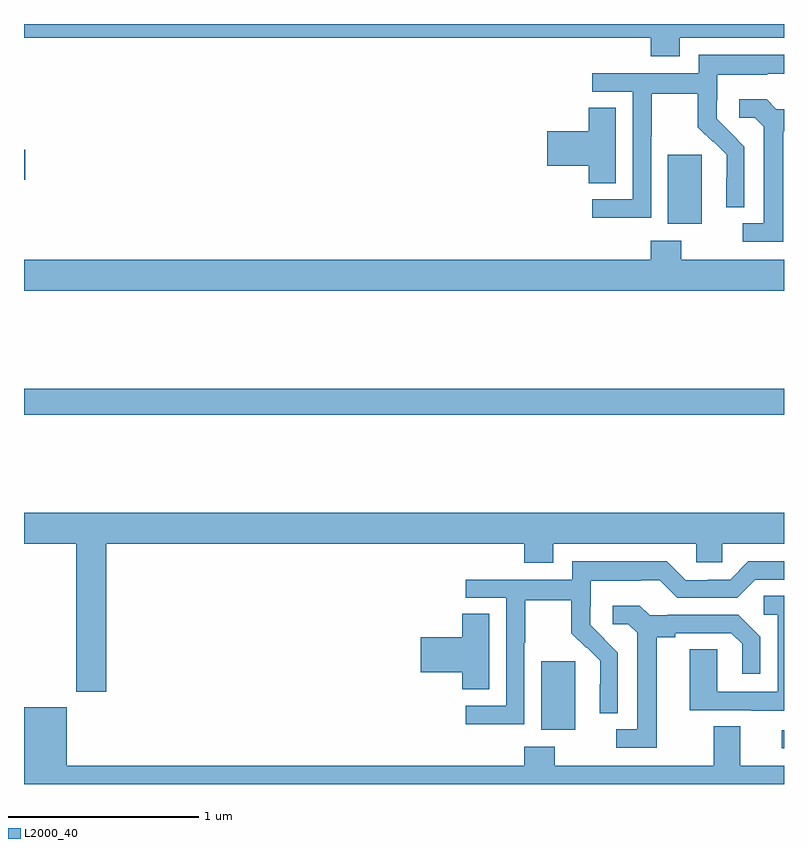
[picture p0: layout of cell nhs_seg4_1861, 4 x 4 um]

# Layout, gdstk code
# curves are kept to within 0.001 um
import gdstk
lib = gdstk.Library(unit=1e-6, precision=1e-09)
def R(c, l, rs):  # rectangles x0, y0, x1, y1
    for r in rs: c.add(gdstk.rectangle(r[:2], r[2:], *l))
def P(c, l, *ps):  # polygons
    for p in ps: c.add(gdstk.Polygon(p, *l))
L2000_40 = (2000, 40)

nhs_seg4_1861 = lib.new_cell('nhs_seg4_1861')
R(nhs_seg4_1861, L2000_40, [(210.987,785.088,211,785.184), (209.723,785.186,209.902,785.547), (207,786.844,211,786.98), (210.389,787.85,210.568,788.211), (207,788.081,207.007,788.239)])
P(nhs_seg4_1861, L2000_40, [(210.451,788.828),(211,788.828),(211,788.9),(207,788.9),(207,788.828),(210.299,788.828),(210.299,788.729),(210.451,788.729)],
  [(210.3,788.308),(210.303,788.308),(210.303,788.532),(210.547,788.532),(210.547,788.357),(210.624,788.28),(210.627,788.283),(210.698,788.213),(210.698,788.09),(210.696,788.09),(210.696,787.936),(210.792,787.936),(210.792,788.254),(210.646,788.402),(210.646,788.499),(210.648,788.499),(210.648,788.633),(210.911,788.633),(210.911,788.637),(211,788.637),(211,788.737),(210.552,788.737),(210.552,788.64),(209.991,788.64),(209.991,788.544),(210.204,788.544),(210.204,787.977),(209.991,787.977),(209.991,787.879),(210.3,787.879)],
  [(210.997,788.336),(211,788.336),(211,788.451),(210.96,788.451),(210.908,788.503),(210.765,788.503),(210.765,788.406),(210.846,788.406),(210.893,788.359),(210.893,787.851),(210.783,787.851),(210.783,787.755),(210.997,787.755)],
  [(210.115,788.459),(209.972,788.459),(209.972,788.336),(209.754,788.336),(209.754,788.153),(209.972,788.153),(209.972,788.062),(210.115,788.062)],
  [(211,787.66),(210.459,787.66),(210.459,787.759),(210.299,787.759),(210.299,787.66),(207,787.66),(207,787.496),(211,787.496)],
  [(207.434,786.164),(209.633,786.164),(209.633,786.065),(209.785,786.065),(209.785,786.164),(210.537,786.164),(210.537,786.066),(210.675,786.066),(210.675,786.164),(211,786.164),(211,786.328),(207,786.328),(207,786.164),(207.274,786.164),(207.274,785.385),(207.434,785.385)],
  [(209.634,785.644),(209.637,785.644),(209.637,785.868),(209.881,785.868),(209.881,785.693),(209.958,785.616),(209.961,785.619),(210.032,785.549),(210.032,785.426),(210.03,785.426),(210.03,785.272),(210.126,785.272),(210.126,785.59),(209.98,785.738),(209.98,785.835),(209.982,785.835),(209.982,785.969),(210.245,785.969),(210.245,785.973),(210.345,785.973),(210.438,785.88),(210.753,785.88),(210.849,785.976),(211,785.976),(211,786.072),(210.813,786.072),(210.717,785.976),(210.599,785.976),(210.599,785.973),(210.483,785.973),(210.383,786.073),(209.886,786.073),(209.886,785.976),(209.325,785.976),(209.325,785.88),(209.538,785.88),(209.538,785.313),(209.325,785.313),(209.325,785.215),(209.634,785.215)],
  [(211,785.891),(210.894,785.891),(210.894,785.79),(210.966,785.79),(210.966,785.385),(210.648,785.385),(210.648,785.609),(210.503,785.609),(210.503,785.289),(210.827,785.289),(210.827,785.285),(211,785.285)],
  [(210.331,785.672),(210.427,785.672),(210.427,785.694),(210.722,785.694),(210.779,785.637),(210.779,785.481),(210.876,785.481),(210.876,785.674),(210.76,785.79),(210.388,785.79),(210.388,785.787),(210.294,785.787),(210.242,785.839),(210.099,785.839),(210.099,785.742),(210.18,785.742),(210.227,785.695),(210.227,785.187),(210.117,785.187),(210.117,785.091),(210.331,785.091)],
  [(209.449,785.795),(209.306,785.795),(209.306,785.672),(209.088,785.672),(209.088,785.489),(209.306,785.489),(209.306,785.398),(209.449,785.398)],
  [(211,784.996),(210.769,784.996),(210.769,785.204),(210.629,785.204),(210.629,784.996),(209.793,784.996),(209.793,785.095),(209.633,785.095),(209.633,784.996),(207.226,784.996),(207.226,785.305),(207,785.305),(207,784.9),(211,784.9)])

lib.write_gds('nhs_seg4_1861.gds')
